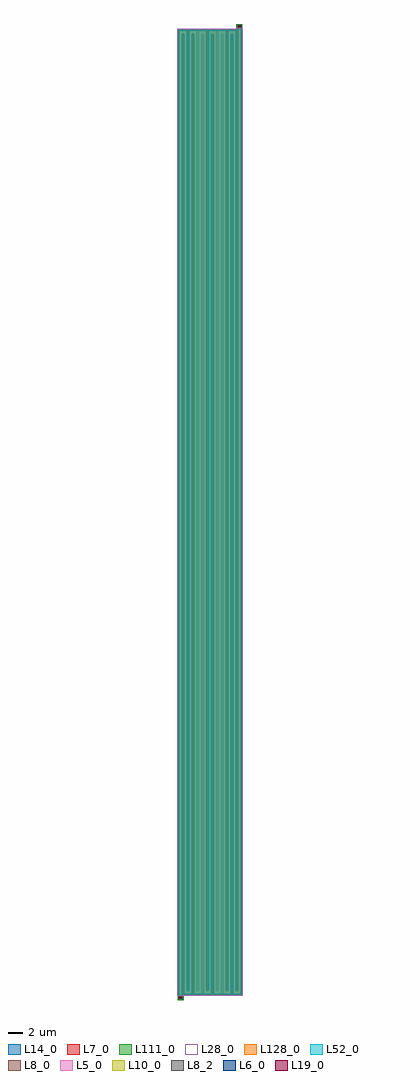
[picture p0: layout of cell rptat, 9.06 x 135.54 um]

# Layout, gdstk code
import gdstk
lib = gdstk.Library(unit=1e-6, precision=1e-09)
def R(c, l, rs):  # rectangles x0, y0, x1, y1
    for r in rs: c.add(gdstk.rectangle(r[:2], r[2:], *l))
def A(c, l, x, y, w, h, nx, ny, dx, dy):  # array of equal rectangles
    R(c, l, [(x+i*dx, y+j*dy, x+i*dx+w, y+j*dy+h) for i in range(nx) for j in range(ny)])
L5_0 = (5, 0)
L6_0 = (6, 0)
L7_0 = (7, 0)
L8_0 = (8, 0)
L8_2 = (8, 2)
L10_0 = (10, 0)
L14_0 = (14, 0)
L19_0 = (19, 0)
L28_0 = (28, 0)
L52_0 = (52, 0)
L111_0 = (111, 0)
L128_0 = (128, 0)

rhigh = lib.new_cell('rhigh')
R(rhigh, L5_0, [(0,-0.43,0.5,0), (8.16,134.32,8.66,134.75)])
R(rhigh, L6_0, [(0.07,-0.36,0.43,-0.2), (8.23,134.52,8.59,134.68)])
R(rhigh, L7_0, [(-0.18,-0.61,0.68,0.18), (-0.18,0,8.84,134.27), (-0.18,0,0.68,133.59), (7.98,0.7,8.84,134.32), (7.98,134.14,8.84,134.93), (7.98,134.29,8.84,134.32)])
R(rhigh, L8_0, [(0.02,-0.41,0.48,-0.15), (8.18,134.47,8.64,134.73)])
R(rhigh, L8_2, [(0.02,-0.41,0.48,-0.15), (8.18,134.47,8.64,134.73)])
R(rhigh, L14_0, [(-0.18,-0.61,0.68,0.18), (-0.18,0,8.84,134.27), (-0.18,0,0.68,133.59), (7.98,0.7,8.84,134.32), (7.98,134.14,8.84,134.93), (7.98,134.29,8.84,134.32)])
R(rhigh, L28_0, [(-0.2,0,8.86,134.29), (7.96,134.29,8.86,134.32)])
A(rhigh, L52_0, 0.68, 0.2, 1.18, 0.5, 6, 1, 1.36, 0)
A(rhigh, L52_0, 0.68, 0.7, 0.5, 132.89, 11, 1, 0.68, 0)
A(rhigh, L52_0, 0, 133.59, 1.18, 0.5, 6, 1, 1.36, 0)
R(rhigh, L52_0, [(0,0,0.5,133.59), (8.16,0.7,8.66,134.32)])
R(rhigh, L111_0, [(-0.18,-0.61,0.68,0.18), (-0.2,0,8.86,134.29), (7.98,134.14,8.84,134.93), (7.96,134.29,8.86,134.32)])
A(rhigh, L128_0, 0.68, 0.2, 1.18, 0.5, 6, 1, 1.36, 0)
A(rhigh, L128_0, 0.68, 0.7, 0.5, 132.89, 11, 1, 0.68, 0)
A(rhigh, L128_0, 0, 133.59, 1.18, 0.5, 6, 1, 1.36, 0)
R(rhigh, L128_0, [(0,0,0.5,133.59), (8.16,0.7,8.66,134.32)])
rhigh.add(gdstk.Label('rhigh r=5136175.417', (0.25,66.445), layer=63, texttype=0))
rhigh.add(gdstk.Label('rhigh', (0.25,66.795), layer=52, texttype=0))
rhigh.add(gdstk.Label('rhigh', (0.59,133.84), layer=52, texttype=0))
rhigh.add(gdstk.Label('rhigh', (0.93,67.145), layer=52, texttype=0))
rhigh.add(gdstk.Label('rhigh', (1.27,0.45), layer=52, texttype=0))
rhigh.add(gdstk.Label('rhigh', (1.61,67.145), layer=52, texttype=0))
rhigh.add(gdstk.Label('rhigh', (1.95,133.84), layer=52, texttype=0))
rhigh.add(gdstk.Label('rhigh', (2.29,67.145), layer=52, texttype=0))
rhigh.add(gdstk.Label('rhigh', (2.63,0.45), layer=52, texttype=0))
rhigh.add(gdstk.Label('rhigh', (2.97,67.145), layer=52, texttype=0))
rhigh.add(gdstk.Label('rhigh', (3.31,133.84), layer=52, texttype=0))
rhigh.add(gdstk.Label('rhigh', (3.65,67.145), layer=52, texttype=0))
rhigh.add(gdstk.Label('rhigh', (3.99,0.45), layer=52, texttype=0))
rhigh.add(gdstk.Label('rhigh', (4.33,67.145), layer=52, texttype=0))
rhigh.add(gdstk.Label('rhigh', (4.67,133.84), layer=52, texttype=0))
rhigh.add(gdstk.Label('rhigh', (5.01,67.145), layer=52, texttype=0))
rhigh.add(gdstk.Label('rhigh', (5.35,0.45), layer=52, texttype=0))
rhigh.add(gdstk.Label('rhigh', (5.69,67.145), layer=52, texttype=0))
rhigh.add(gdstk.Label('rhigh', (6.03,133.84), layer=52, texttype=0))
rhigh.add(gdstk.Label('rhigh', (6.37,67.145), layer=52, texttype=0))
rhigh.add(gdstk.Label('rhigh', (6.71,0.45), layer=52, texttype=0))
rhigh.add(gdstk.Label('rhigh', (7.05,67.145), layer=52, texttype=0))
rhigh.add(gdstk.Label('rhigh', (7.39,133.84), layer=52, texttype=0))
rhigh.add(gdstk.Label('rhigh', (7.73,67.145), layer=52, texttype=0))
rhigh.add(gdstk.Label('rhigh', (8.07,0.45), layer=52, texttype=0))
rhigh.add(gdstk.Label('rhigh', (8.41,67.51), layer=52, texttype=0))

rptat = lib.new_cell('rptat')
R(rptat, L8_0, [(0.095,-0.435,0.405,-0.125), (8.255,134.445,8.565,134.755)])
R(rptat, L10_0, [(0.005,-0.435,0.495,-0.125), (8.165,134.445,8.655,134.755)])
R(rptat, L19_0, [(0.155,-0.375,0.345,-0.185), (8.315,134.505,8.505,134.695)])
rptat.add(gdstk.Reference(rhigh, (0,0)))

lib.write_gds('rptat.gds')
